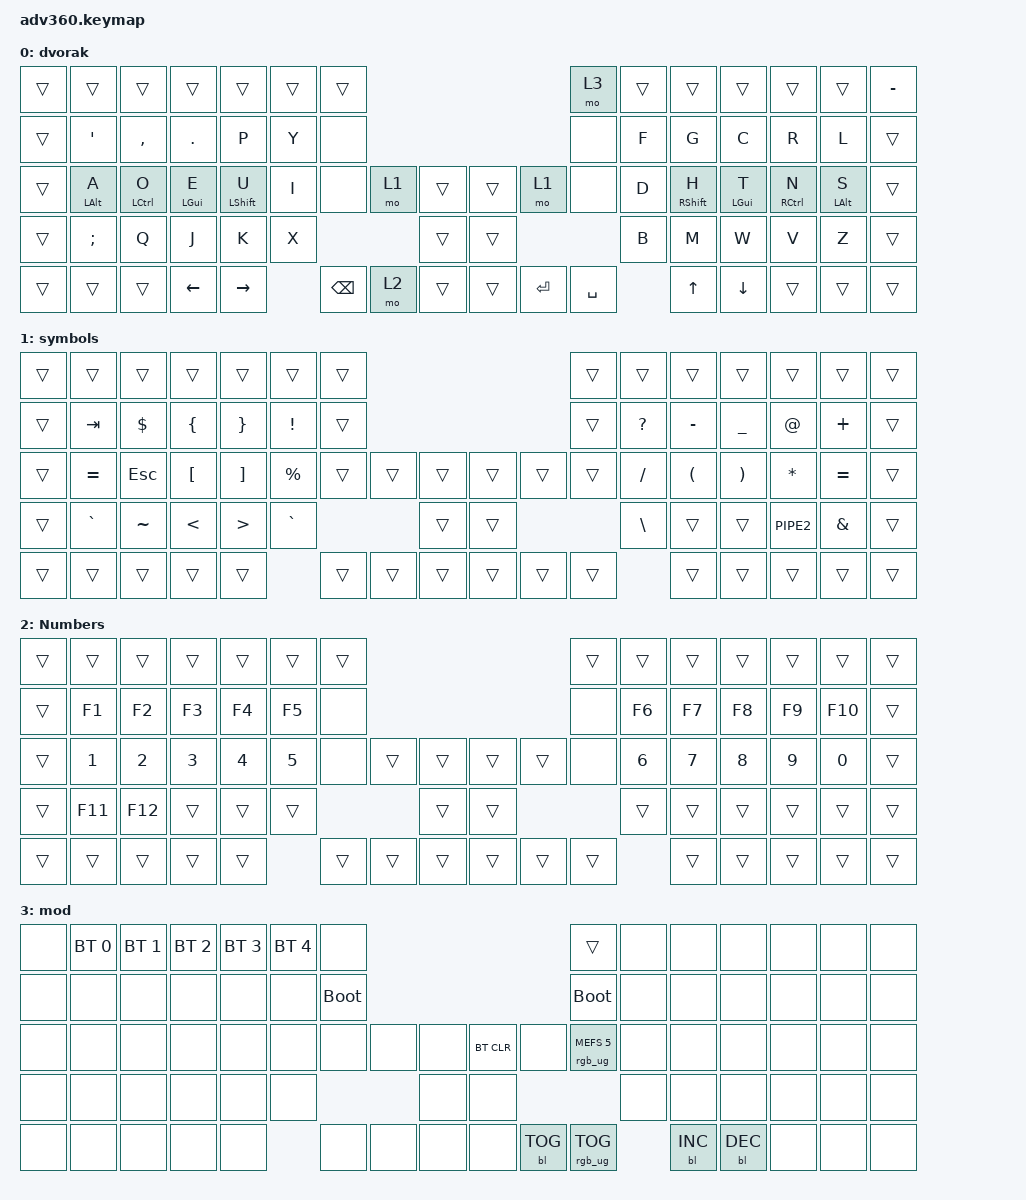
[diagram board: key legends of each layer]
#include <behaviors.dtsi>
#include <dt-bindings/zmk/backlight.h>
#include <dt-bindings/zmk/bt.h>
#include <dt-bindings/zmk/keys.h>
#include <dt-bindings/zmk/rgb.h>

/ {
    behaviors {
        #include "macros.dtsi"

        hm: homerow_mods {
            compatible = "zmk,behavior-hold-tap";
            label = "HOMEROW_MODS";
            #binding-cells = <2>;
            tapping-term-ms = <200>;
            quick_tap_ms = <175>;
            flavor = "balanced";
            bindings = <&kp>, <&kp>;
        };
    };

    keymap {
        compatible = "zmk,keymap";

        dvorak {
            bindings = <
&trans  &trans      &trans              &trans          &trans            &trans  &trans                                          &mo 3      &trans  &trans             &trans          &trans               &trans          &kp MINUS
&trans  &kp SQT     &kp COMMA           &kp DOT         &kp P             &kp Y   &none                                           &none      &kp F   &kp G              &kp C           &kp R                &kp L           &trans
&trans  &hm LALT A  &hm LEFT_CONTROL O  &hm LEFT_GUI E  &hm LEFT_SHIFT U  &kp I   &none     &mo 1  &trans      &trans  &mo 1      &none      &kp D   &hm RIGHT_SHIFT H  &hm LEFT_GUI T  &hm RIGHT_CONTROL N  &hm LEFT_ALT S  &trans
&trans  &kp SEMI    &kp Q               &kp J           &kp K             &kp X                    &trans      &trans                        &kp B   &kp M              &kp W           &kp V                &kp Z           &trans
&trans  &trans      &trans              &kp LEFT        &kp RIGHT                 &kp BSPC  &mo 2  &trans      &trans  &kp ENTER  &kp SPACE          &kp UP             &kp DOWN        &trans               &trans          &trans
            >;
        };

        symbols {
            bindings = <
&trans  &trans     &trans      &trans          &trans           &trans           &trans                                      &trans  &trans         &trans                &trans                 &trans        &trans     &trans
&trans  &kp TAB    &kp DOLLAR  &kp LEFT_BRACE  &kp RIGHT_BRACE  &kp EXCLAMATION  &trans                                      &trans  &kp QUESTION   &kp MINUS             &kp UNDERSCORE         &kp AT        &kp PLUS   &trans
&trans  &kp EQUAL  &kp ESCAPE  &kp LBKT        &kp RBKT         &kp PERCENT      &trans  &trans  &trans      &trans  &trans  &trans  &kp SLASH      &kp LEFT_PARENTHESIS  &kp RIGHT_PARENTHESIS  &kp ASTERISK  &kp EQUAL  &trans
&trans  &kp GRAVE  &kp TILDE   &kp LT          &kp GT           &kp GRAVE                        &trans      &trans                  &kp BACKSLASH  &trans                &trans                 &kp PIPE2     &kp AMPS   &trans
&trans  &trans     &trans      &trans          &trans                            &trans  &trans  &trans      &trans  &trans  &trans                 &trans                &trans                 &trans        &trans     &trans
            >;
        };

        Numbers {
            bindings = <
&trans  &trans   &trans   &trans  &trans  &trans  &trans                                      &trans  &trans  &trans  &trans  &trans  &trans   &trans
&trans  &kp F1   &kp F2   &kp F3  &kp F4  &kp F5  &none                                       &none   &kp F6  &kp F7  &kp F8  &kp F9  &kp F10  &trans
&trans  &kp N1   &kp N2   &kp N3  &kp N4  &kp N5  &none   &trans  &trans      &trans  &trans  &none   &kp N6  &kp N7  &kp N8  &kp N9  &kp N0   &trans
&trans  &kp F11  &kp F12  &trans  &trans  &trans                  &trans      &trans                  &trans  &trans  &trans  &trans  &trans   &trans
&trans  &trans   &trans   &trans  &trans          &trans  &trans  &trans      &trans  &trans  &trans          &trans  &trans  &trans  &trans   &trans
            >;
        };

        mod {
            bindings = <
&none  &bt BT_SEL 0  &bt BT_SEL 1  &bt BT_SEL 2  &bt BT_SEL 3  &bt BT_SEL 4  &none                                                  &trans                  &none  &none       &none       &none  &none  &none
&none  &none         &none         &none         &none         &none         &bootloader                                            &bootloader             &none  &none       &none       &none  &none  &none
&none  &none         &none         &none         &none         &none         &none        &none  &none      &bt BT_CLR  &none       &rgb_ug RGB_MEFS_CMD 5  &none  &none       &none       &none  &none  &none
&none  &none         &none         &none         &none         &none                             &none      &none                                           &none  &none       &none       &none  &none  &none
&none  &none         &none         &none         &none                       &none        &none  &none      &none       &bl BL_TOG  &rgb_ug RGB_TOG                &bl BL_INC  &bl BL_DEC  &none  &none  &none
            >;
        };
    };
};
